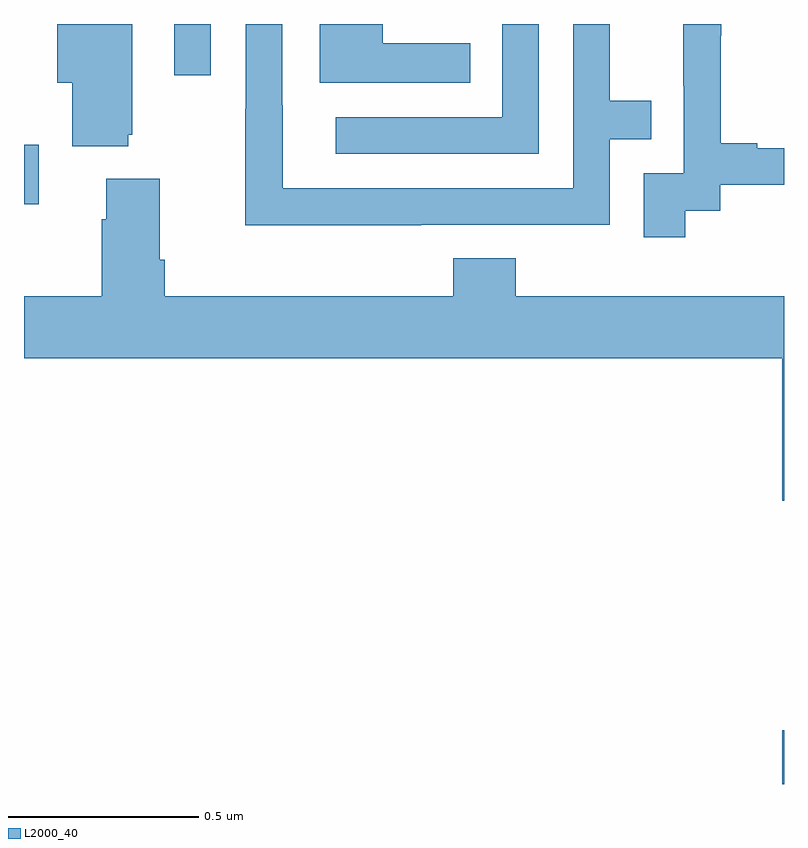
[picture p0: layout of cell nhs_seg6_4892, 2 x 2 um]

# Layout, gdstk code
import gdstk
lib = gdstk.Library(unit=1e-6, precision=1e-09)
def R(c, l, rs):  # rectangles x0, y0, x1, y1
    for r in rs: c.add(gdstk.rectangle(r[:2], r[2:], *l))
def P(c, l, *ps):  # polygons
    for p in ps: c.add(gdstk.Polygon(p, *l))
L2000_40 = (2000, 40)

nhs_seg6_4892 = lib.new_cell('nhs_seg6_4892')
R(nhs_seg6_4892, L2000_40, [(176.996,995.5,177,995.641), (175,997.026,175.039,997.182), (175.395,997.365,175.491,997.5)])
P(nhs_seg6_4892, L2000_40, [(176.045,996.972),(176.541,996.972),(176.541,997.197),(176.651,997.197),(176.651,997.298),(176.541,997.298),(176.541,997.5),(176.445,997.5),(176.445,997.068),(175.681,997.068),(175.681,997.286),(175.68,997.286),(175.68,997.5),(175.584,997.5),(175.584,997.277),(175.582,997.277),(175.582,996.971),(176.045,996.971)],
  [(176.174,997.45),(175.944,997.45),(175.944,997.5),(175.778,997.5),(175.778,997.346),(176.174,997.346)],
  [(176.355,997.5),(176.259,997.5),(176.259,997.254),(175.821,997.254),(175.821,997.158),(176.355,997.158)],
  [(176.74,997.009),(176.832,997.009),(176.832,997.077),(177,997.077),(177,997.173),(176.929,997.173),(176.929,997.186),(176.834,997.186),(176.834,997.469),(176.835,997.469),(176.835,997.5),(176.735,997.5),(176.735,997.337),(176.736,997.337),(176.736,997.107),(176.631,997.107),(176.631,996.939),(176.74,996.939)],
  [(175.274,997.209),(175.285,997.209),(175.285,997.5),(175.088,997.5),(175.088,997.346),(175.127,997.346),(175.127,997.178),(175.274,997.178)],
  [(177,996.784),(176.294,996.784),(176.294,996.883),(176.129,996.883),(176.129,996.784),(175.37,996.784),(175.37,996.88),(175.357,996.88),(175.357,997.093),(175.217,997.093),(175.217,996.986),(175.205,996.986),(175.205,996.784),(175,996.784),(175,996.62),(176.996,996.62),(176.996,996.246),(177,996.246)])

lib.write_gds('nhs_seg6_4892.gds')
